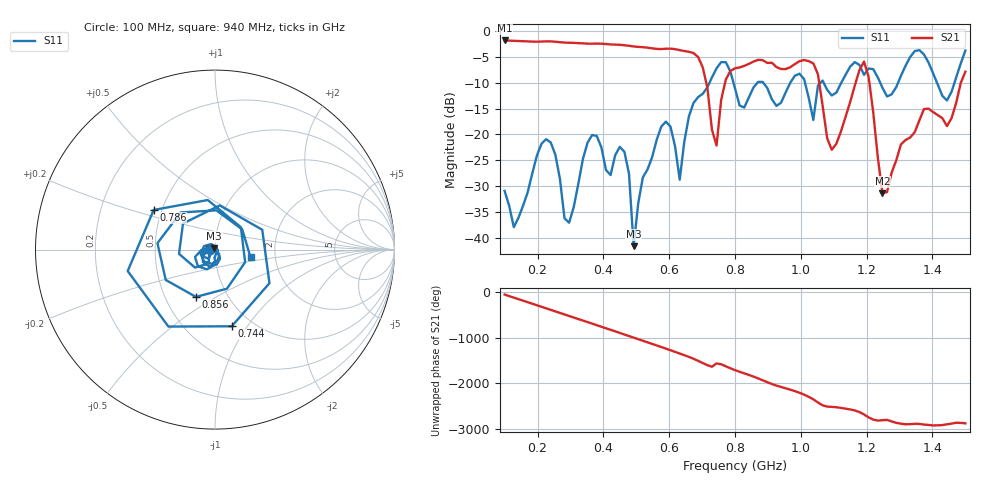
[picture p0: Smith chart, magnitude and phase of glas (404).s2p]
! NanoVNA-App
! Date: 2025-09-25 15:58:37
! Start: 100MHz Stop: 1,5GHz Points: 101
! S-Parameter data: F S11 S21 S12 S22
# Hz S RI R 50
!  Frequency  S11_Real  S11_Imag  S21_Real  S21_Imag  S12_Real  S12_Imag  S22_Real  S22_Imag
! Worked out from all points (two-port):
!   101 points, 100 MHz to 1.5 GHz, reference 50 ohm
!   highest |S21| = -1.80 dB at 100 MHz (marker M1); lowest = -31.4 dB at 1.248 GHz (marker M2)
!   |S21| within 3 dB of the highest: start of sweep to 684.3 MHz
!   lowest |S11| = -41.6 dB at 492 MHz (marker M3), VSWR 1.02, Z = 49.5 + j0.617 ohm
!   |S11| at or under -10 dB: start of sweep to 722.4 MHz; 795.4 MHz to 867.9 MHz (72.5 MHz wide, 8.72 % of centre); 886.1 MHz to 967.8 MHz (81.76 MHz wide, 8.82 % of centre) (the widest 3 of 7)
!   S12 and S22 are empty: the file has one direction only
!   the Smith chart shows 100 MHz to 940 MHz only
!   S11 on the Smith chart (normalised r, x): 100 MHz: 0.95, -0.01; 744 MHz: 0.80, -0.85; 786 MHz: 0.45, +0.24; 856 MHz: 0.71, -0.41; 940 MHz: 1.49, -0.14
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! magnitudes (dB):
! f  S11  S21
! 100 MHz  -30.9  -1.8
! 128 MHz  -38.0  -1.9
! 226 MHz  -20.9  -2.0
! 296 MHz  -37.1  -2.2
! 338 MHz  -24.7  -2.4
! 464 MHz  -23.4  -2.7
! 492 MHz  -41.6  -3.0
! 576 MHz  -18.5  -3.5
! 632 MHz  -28.8  -3.7
! 702 MHz  -12.1  -7.0
! 744 MHz  -7.2  -22.2
! 786 MHz  -7.8  -7.7
! 800 MHz  -11.1  -7.2
! 856 MHz  -10.9  -5.9
! 940 MHz  -13.8  -7.3
! 1.038 GHz  -17.2  -6.2
! 1.094 GHz  -12.5  -23.0
! 1.192 GHz  -8.5  -5.9
! 1.248 GHz  -11.0  -31.4
! 1.276 GHz  -12.2  -27.4
! 1.444 GHz  -13.4  -18.4
! 1.5 GHz  -3.7  -7.8
